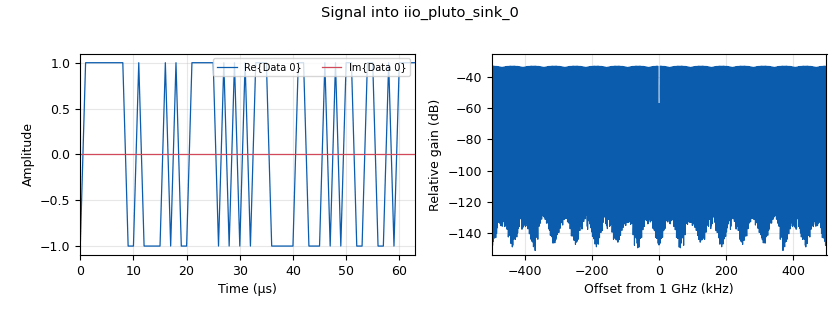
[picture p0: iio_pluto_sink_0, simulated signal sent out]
options:
  parameters:
    author: Jose Sanchez
    generate_options: no_gui
    id: pnSequence
    output_language: python
    title: PN Sequence TX
  states: {}

blocks:
- name: SDR_ID
  id: variable
  parameters:
    value: '"ip:192.168.2.1"'
  states: {}
- name: bandwidth
  id: variable
  parameters:
    value: '20000000'
  states: {}
- name: buffer_size
  id: variable
  parameters:
    value: '0x800'
  states: {}
- name: freq
  id: variable
  parameters:
    value: '1000000000'
  states: {}
- name: ga128
  id: variable
  parameters:
    value: (1,1,-1,-1,-1,-1,-1,-1,-1,1,-1,1,1,-1,-1,1,1,1,-1,-1,1,1,1,1,-1,1,-1,1,-1,1,1,-1,-1,-1,1,1,1,1,1,1,1,-1,1,-1,-1,1,1,-1,1,1,-1,-1,1,1,1,1,-1,1,-1,1,-1,1,1,-1,1,1,-1,-1,-1,-1,-1,-1,-1,1,-1,1,1,-1,-1,1,1,1,-1,-1,1,1,1,1,-1,1,-1,1,-1,1,1,-1,1,1,-1,-1,-1,-1,-1,-1,-1,1,-1,1,1,-1,-1,1,-1,-1,1,1,-1,-1,-1,-1,1,-1,1,-1,1,-1,-1,1)
  states: {}
- name: gain
  id: variable
  parameters:
    value: '0'
  states: {}
- name: glfsr
  id: variable
  parameters:
    value: (1,-1,1,1,-1,-1,-1,1,1,1,1,-1,1,-1,-1,-1,-1,1,1,1,1,1,1,1,1,-1,-1,1,-1,-1,-1,-1,1,-1,1,-1,-1,1,1,1,1,1,-1,1,-1,1,-1,1,-1,1,1,1,-1,-1,-1,-1,-1,1,1,-1,-1,-1,1,-1,1,-1,1,1,-1,-1,1,1,-1,-1,1,-1,1,1,1,1,1,1,-1,1,1,1,1,-1,-1,1,1,-1,1,1,1,-1,1,1,1,-1,-1,1,-1,1,-1,1,-1,-1,1,-1,1,-1,-1,-1,1,-1,-1,1,-1,1,1,-1,1,-1,-1,-1,1,1,-1,-1,1,1,1,-1,-1,1,1,1,1,-1,-1,-1,1,1,-1,1,1,-1,-1,-1,-1,1,-1,-1,-1,1,-1,1,1,1,-1,1,-1,1,1,1,1,-1,1,1,-1,1,1,1,1,1,-1,-1,-1,-1,1,1,-1,1,-1,-1,1,1,-1,1,-1,1,1,-1,1,1,-1,1,-1,1,-1,-1,-1,-1,-1,1,-1,-1,1,1,1,-1,1,1,-1,-1,1,-1,-1,1,-1,-1,1,1,-1,-1,-1,-1,-1,-1,1,1,1,-1,1,-1,-1,1,-1,-1,-1,1,1,1,-1,-1,-1,1,-1,-1,-1,-1,-1,-1,-1)
  states: {}
- name: glfsr150
  id: variable
  parameters:
    value: (1,-1,1,1,-1,-1,-1,1,1,1,1,-1,1,-1,-1,-1,-1,1,1,1,1,1,1,1,1,-1,-1,1,-1,-1,-1,-1,1,-1,1,-1,-1,1,1,1,1,1,-1,1,-1,1,-1,1,-1,1,1,1,-1,-1,-1,-1,-1,1,1,-1,-1,-1,1,-1,1,-1,1,1,-1,-1,1,1,-1,-1,1,-1,1,1,1,1,1,1,-1,1,1,1,1,-1,-1,1,1,-1,1,1,1,-1,1,1,1,-1,-1,1,-1,1,-1,1,-1,-1,1,-1,1,-1,-1,-1,1,-1,-1,1,-1,1,1,-1,1,-1,-1,-1,1,1,-1,-1,1,1,1,-1,-1,1,1,1,1,-1,-1,-1,1,1,-1,1,1,-1,-1,-1)
  states: {}
- name: glfsr_0s
  id: variable
  parameters:
    value: (1,-1,1,1,-1,-1,-1,1,1,1,1,-1,1,-1,-1,-1,-1,1,1,1,1,1,1,1,1,-1,-1,1,-1,-1,-1,-1,1,-1,1,-1,-1,1,1,1,1,1,-1,1,-1,1,-1,1,-1,1,1,1,-1,-1,-1,-1,-1,1,1,-1,-1,-1,1,-1,1,-1,1,1,-1,-1,1,1,-1,-1,1,-1,1,1,1,1,1,1,-1,1,1,1,1,-1,-1,1,1,-1,1,1,1,-1,1,1,1,-1,-1,1,-1,1,-1,1,-1,-1,1,-1,1,-1,-1,-1,1,-1,-1,1,-1,1,1,-1,1,-1,-1,-1,1,1,-1,-1,1,1,1,-1,-1,1,1,1,1,-1,-1,-1,1,1,-1,1,1,-1,-1,-1,-1,1,-1,-1,-1,1,-1,1,1,1,-1,1,-1,1,1,1,1,-1,1,1,-1,1,1,1,1,1,-1,-1,-1,-1,1,1,-1,1,-1,-1,1,1,-1,1,-1,1,1,-1,1,1,-1,1,-1,1,-1,-1,-1,-1,-1,1,-1,-1,1,1,1,-1,1,1,-1,-1,1,-1,-1,1,-1,-1,1,1,-1,-1,-1,-1,-1,-1,1,1,1,-1,1,-1,-1,1,-1,-1,-1,1,1,1,-1,-1,-1,1,-1,-1,-1,-1,-1,-1,-1,0,0,0,0,0,0,0,0,0,0,0,0,0,0,0,0,0,0,0,0,0,0,0,0,0,0,0,0,0,0,0,0,0,0,0,0,0,0,0,0,0,0,0,0,0,0,0,0,0,0,0,0,0,0,0,0,0,0,0,0,0,0,0,0,0,0,0,0,0,0,0,0,0,0,0,0,0,0,0,0,0,0,0,0,0,0,0,0,0,0,0,0,0,0,0,0,0,0,0,0,0,0,0,0,0,0,0,0,0,0,0,0,0,0,0,0,0,0,0,0,0,0,0,0,0,0,0,0,0,0,0,0,0,0,0,0,0,0,0,0,0,0,0,0,0,0,0,0,0,0,0,0,0,0,0,0,0,0,0,0,0,0,0,0,0,0,0,0,0,0,0,0,0,0,0,0,0,0,0,0,0,0,0,0,0,0,0,0,0,0,0,0,0,0,0,0,0,0,0,0,0,0,0,0,0,0,0,0,0,0,0,0,0,0,0,0,0,0,0,0,0,0,0,0,0,0,0,0,0,0,0,0,0,0,0,0,0,0,0,0,0,0,0,0,0,0,0,0,0,0,0,0,0,0,0)
  states: {}
- name: ls1
  id: variable
  parameters:
    value: (1,1,-1,1,1,1,1,-1,1,1,-1,1,-1,-1,-1,1,1,1,-1,1,1,1,1,-1,-1,-1,1,-1,1,1,1,-1,1,1,-1,1,1,1,1,-1,1,1,-1,1,-1,-1,-1,1,-1,-1,1,-1,-1,-1,-1,1,1,1,-1,1,-1,-1,-1,1,1,1,-1,1,1,1,1,-1,1,1,-1,1,-1,-1,-1,1,1,1,-1,1,1,1,1,-1,-1,-1,1,-1,1,1,1,-1,-1,-1,1,-1,-1,-1,-1,1,-1,-1,1,-1,1,1,1,-1,1,1,-1,1,1,1,1,-1,-1,-1,1,-1,1,1,1,-1,1,1,-1,1,1,1,1,-1,1,1,-1,1,-1,-1,-1,1,1,1,-1,1,1,1,1,-1,-1,-1,1,-1,1,1,1,-1,1,1,-1,1,1,1,1,-1,1,1,-1,1,-1,-1,-1,1,-1,-1,1,-1,-1,-1,-1,1,1,1,-1,1,-1,-1,-1,1,-1,-1,1,-1,-1,-1,-1,1,-1,-1,1,-1,1,1,1,-1,-1,-1,1,-1,-1,-1,-1,1,1,1,-1,1,-1,-1,-1,1,1,1,-1,1,1,1,1,-1,1,1,-1,1,-1,-1,-1,1,-1,-1,1,-1,-1,-1,-1,1,1,1,-1,1,-1,-1,-1,1)
  states: {}
- name: ls1_all
  id: variable
  parameters:
    value: (0,0,0,0,0,0,0,0,0,0,0,0,0,0,0,0,0,0,0,0,0,0,0,0,0,0,0,0,0,0,0,0,0,0,0,0,0,0,0,0,0,0,0,0,0,0,0,0,0,0,0,0,0,0,0,0,0,0,0,0,0,0,0,0,0,0,0,0,0,0,0,0,0,0,0,0,0,0,0,0,0,0,0,0,0,0,0,0,0,0,0,0,0,0,0,0,0,0,0,0,0,0,0,0,0,0,0,0,0,0,0,0,0,0,0,0,0,0,0,0,0,0,0,0,0,0,0,0,0,0,0,0,0,0,0,0,0,0,0,0,0,0,0,0,0,0,0,0,0,0,0,0,0,0,0,0,0,0,0,0,0,0,0,0,0,0,0,0,0,0,0,0,0,0,0,0,0,0,0,0,0,0,0,0,0,0,0,0,0,0,0,0,0,0,0,0,0,0,0,0,0,0,0,0,0,0,0,0,0,0,0,0,0,0,0,0,0,0,0,0,0,0,0,0,0,0,0,0,0,0,0,0,0,0,0,0,0,0,0,0,0,0,0,0,0,0,0,0,0,0,0,0,0,0,0,1,1,-1,1,1,1,1,-1,1,1,-1,1,-1,-1,-1,1,1,1,-1,1,1,1,1,-1,-1,-1,1,-1,1,1,1,-1,1,1,-1,1,1,1,1,-1,1,1,-1,1,-1,-1,-1,1,-1,-1,1,-1,-1,-1,-1,1,1,1,-1,1,-1,-1,-1,1,1,1,-1,1,1,1,1,-1,1,1,-1,1,-1,-1,-1,1,1,1,-1,1,1,1,1,-1,-1,-1,1,-1,1,1,1,-1,-1,-1,1,-1,-1,-1,-1,1,-1,-1,1,-1,1,1,1,-1,1,1,-1,1,1,1,1,-1,-1,-1,1,-1,1,1,1,-1,1,1,-1,1,1,1,1,-1,1,1,-1,1,-1,-1,-1,1,1,1,-1,1,1,1,1,-1,-1,-1,1,-1,1,1,1,-1,1,1,-1,1,1,1,1,-1,1,1,-1,1,-1,-1,-1,1,-1,-1,1,-1,-1,-1,-1,1,1,1,-1,1,-1,-1,-1,1,-1,-1,1,-1,-1,-1,-1,1,-1,-1,1,-1,1,1,1,-1,-1,-1,1,-1,-1,-1,-1,1,1,1,-1,1,-1,-1,-1,1,1,1,-1,1,1,1,1,-1,1,1,-1,1,-1,-1,-1,1,-1,-1,1,-1,-1,-1,-1,1,1,1,-1,1,-1,-1,-1,1,0,0,0,0,0,0,0,0,0,0,0,0,0,0,0,0,0,0,0,0,0,0,0,0,0,0,0,0,0,0,0,0,0,0,0,0,0,0,0,0,0,0,0,0,0,0,0,0,0,0,0,0,0,0,0,0,0,0,0,0,0,0,0,0,0,0,0,0,0,0,0,0,0,0,0,0,0,0,0,0,0,0,0,0,0,0,0,0,0,0,0,0,0,0,0,0,0,0,0,0,0,0,0,0,0,0,0,0,0,0,0,0,0,0,0,0,0,0,0,0,0,0,0,0,0,0,0,0,0,0,0,0,0,0,0,0,0,0,0,0,0,0,0,0,0,0,0,0,0,0,0,0,0,0,0,0,0,0,0,0,0,0,0,0,0,0,0,0,0,0,0,0,0,0,0,0,0,0,0,0,0,0,0,0,0,0,0,0,0,0,0,0,0,0,0,0,0,0,0,0,0,0,0,0,0,0,0,0,0,0,0,0,0,0,0,0,0,0,0,0,0,0,0,0,0,0,0,0,0,0,0,0,0,0,0,0,0,0,0,0,0,0,0,0,0,0,0,0,0,0,0,0,0,0,0,1,-1,-1,-1,1,-1,1,1,1,-1,-1,-1,-1,1,-1,-1,1,-1,-1,-1,1,-1,1,1,-1,1,1,1,1,-1,1,1,1,-1,-1,-1,1,-1,1,1,1,-1,-1,-1,-1,1,-1,-1,-1,1,1,1,-1,1,-1,-1,1,-1,-1,-1,-1,1,-1,-1,1,-1,-1,-1,1,-1,1,1,1,-1,-1,-1,-1,1,-1,-1,1,-1,-1,-1,1,-1,1,1,-1,1,1,1,1,-1,1,1,-1,1,1,1,-1,1,-1,-1,-1,1,1,1,1,-1,1,1,1,-1,-1,-1,1,-1,1,1,-1,1,1,1,1,-1,1,1,1,-1,-1,-1,1,-1,1,1,1,-1,-1,-1,-1,1,-1,-1,1,-1,-1,-1,1,-1,1,1,-1,1,1,1,1,-1,1,1,1,-1,-1,-1,1,-1,1,1,1,-1,-1,-1,-1,1,-1,-1,-1,1,1,1,-1,1,-1,-1,1,-1,-1,-1,-1,1,-1,-1,-1,1,1,1,-1,1,-1,-1,-1,1,1,1,1,-1,1,1,-1,1,1,1,-1,1,-1,-1,1,-1,-1,-1,-1,1,-1,-1,1,-1,-1,-1,1,-1,1,1,1,-1,-1,-1,-1,1,-1,-1,-1,1,1,1,-1,1,-1,-1,1,-1,-1,-1,-1,1,-1,-1)
  states: {}
- name: ls1_d0
  id: variable
  parameters:
    value: (1,1,-1,1,1,1,1,-1,1,1,-1,1,-1,-1,-1,1,1,1,-1,1,1,1,1,-1,-1,-1,1,-1,1,1,1,-1,1,1,-1,1,1,1,1,-1,1,1,-1,1,-1,-1,-1,1,-1,-1,1,-1,-1,-1,-1,1,1,1,-1,1,-1,-1,-1,1,1,1,-1,1,1,1,1,-1,1,1,-1,1,-1,-1,-1,1,1,1,-1,1,1,1,1,-1,-1,-1,1,-1,1,1,1,-1,-1,-1,1,-1,-1,-1,-1,1,-1,-1,1,-1,1,1,1,-1,1,1,-1,1,1,1,1,-1,-1,-1,1,-1,1,1,1,-1,1,1,-1,1,1,1,1,-1,1,1,-1,1,-1,-1,-1,1,1,1,-1,1,1,1,1,-1,-1,-1,1,-1,1,1,1,-1,1,1,-1,1,1,1,1,-1,1,1,-1,1,-1,-1,-1,1,-1,-1,1,-1,-1,-1,-1,1,1,1,-1,1,-1,-1,-1,1,-1,-1,1,-1,-1,-1,-1,1,-1,-1,1,-1,1,1,1,-1,-1,-1,1,-1,-1,-1,-1,1,1,1,-1,1,-1,-1,-1,1,1,1,-1,1,1,1,1,-1,1,1,-1,1,-1,-1,-1,1,-1,-1,1,-1,-1,-1,-1,1,1,1,-1,1,-1,-1,-1,1,0,0,0,0,0,0,0,0,0,0,0,0,0,0,0,0,0,0,0,0,0,0,0,0,0,0,0,0,0,0,0,0,0,0,0,0,0,0,0,0,0,0,0,0,0,0,0,0,0,0,0,0,0,0,0,0,0,0,0,0,0,0,0,0,0,0,0,0,0,0,0,0,0,0,0,0,0,0,0,0,0,0,0,0,0,0,0,0,0,0,0,0,0,0,0,0,0,0,0,0,0,0,0,0,0,0,0,0,0,0,0,0,0,0,0,0,0,0,0,0,0,0,0,0,0,0,0,0,0,0,0,0,0,0,0,0,0,0,0,0,0,0,0,0,0,0,0,0,0,0,0,0,0,0,0,0,0,0,0,0,0,0,0,0,0,0,0,0,0,0,0,0,0,0,0,0,0,0,0,0,0,0,0,0,0,0,0,0,0,0,0,0,0,0,0,0,0,0,0,0,0,0,0,0,0,0,0,0,0,0,0,0,0,0,0,0,0,0,0,0,0,0,0,0,0,0,0,0,0,0,0,0,0,0,0,0,0,0,0,0,0,0,0,0,0,0,0,0,0,0,0,0,0,0,0)
  states: {state: disabled}
- name: ls2
  id: variable
  parameters:
    value: (1,1,-1,1,1,1,1,-1,1,1,-1,1,-1,-1,-1,1,1,1,-1,1,1,1,1,-1,-1,-1,1,-1,1,1,1,-1,1,1,-1,1,1,1,1,-1,1,1,-1,1,-1,-1,-1,1,-1,-1,1,-1,-1,-1,-1,1,1,1,-1,1,-1,-1,-1,1,1,1,-1,1,1,1,1,-1,1,1,-1,1,-1,-1,-1,1,1,1,-1,1,1,1,1,-1,-1,-1,1,-1,1,1,1,-1,-1,-1,1,-1,-1,-1,-1,1,-1,-1,1,-1,1,1,1,-1,1,1,-1,1,1,1,1,-1,-1,-1,1,-1,1,1,1,-1,-1,-1,1,-1,-1,-1,-1,1,-1,-1,1,-1,1,1,1,-1,-1,-1,1,-1,-1,-1,-1,1,1,1,-1,1,-1,-1,-1,1,-1,-1,1,-1,-1,-1,-1,1,-1,-1,1,-1,1,1,1,-1,1,1,-1,1,1,1,1,-1,-1,-1,1,-1,1,1,1,-1,1,1,-1,1,1,1,1,-1,1,1,-1,1,-1,-1,-1,1,1,1,-1,1,1,1,1,-1,-1,-1,1,-1,1,1,1,-1,-1,-1,1,-1,-1,-1,-1,1,-1,-1,1,-1,1,1,1,-1,1,1,-1,1,1,1,1,-1,-1,-1,1,-1,1,1,1,-1)
  states: {}
- name: samp_rate
  id: variable
  parameters:
    value: '1000000'
  states: {}
- name: blocks_float_to_complex_0
  id: blocks_float_to_complex
  parameters: {}
  states: {}
- name: blocks_null_source_1
  id: blocks_null_source
  parameters:
    type: float
  states: {}
- name: blocks_vector_source_x_0
  id: blocks_vector_source_x
  parameters:
    repeat: 'True'
    type: float
    vector: glfsr
  states: {}
- name: digital_glfsr_source_x_0
  id: digital_glfsr_source_x
  parameters:
    degree: '8'
    mask: '0'
    repeat: 'True'
    seed: '1'
    type: float
  states: {state: disabled}
- name: iio_pluto_sink_0
  id: iio_pluto_sink
  parameters:
    attenuation1: gain
    bandwidth: bandwidth
    buffer_size: buffer_size
    cyclic: 'True'
    filter_source: '''Auto'''
    frequency: freq
    samplerate: samp_rate
    type: fc32
    uri: SDR_ID
  states: {}

connections:
- [blocks_float_to_complex_0, '0', iio_pluto_sink_0, '0']
- [blocks_null_source_1, '0', blocks_float_to_complex_0, '1']
- [blocks_vector_source_x_0, '0', blocks_float_to_complex_0, '0']

metadata:
  file_format: 1
  grc_version: 3.10.6.0
